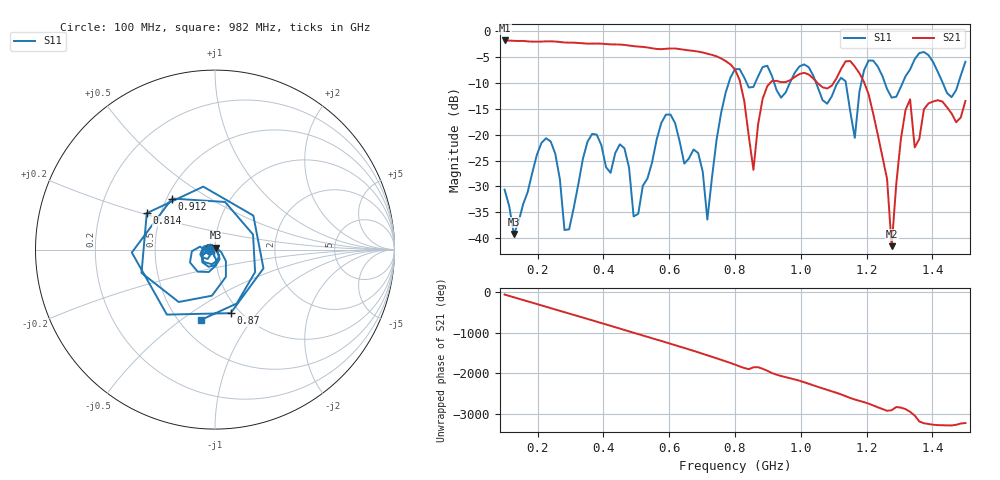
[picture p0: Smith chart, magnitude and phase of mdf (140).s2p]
! NanoVNA-App
! Date: 2025-09-26 09:40:49
! Start: 100MHz Stop: 1,5GHz Points: 101
! S-Parameter data: F S11 S21 S12 S22
# Hz S RI R 50
!  Frequency  S11_Real  S11_Imag  S21_Real  S21_Imag  S12_Real  S12_Imag  S22_Real  S22_Imag
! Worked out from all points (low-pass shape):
!   101 points, 100 MHz to 1.5 GHz, reference 50 ohm
!   highest |S21| = -1.79 dB at 100 MHz (marker M1); lowest = -41.5 dB at 1.276 GHz (marker M2)
!   |S21| within 3 dB of the highest: start of sweep to 740.6 MHz
!   lowest |S11| = -39.2 dB at 128 MHz (marker M3), VSWR 1.02, Z = 50.3 + j1.06 ohm
!   |S11| at or under -10 dB: start of sweep to 780.9 MHz; 1.046 GHz to 1.112 GHz (65.32 MHz wide, 6.05 % of centre); 1.255 GHz to 1.309 GHz (53.78 MHz wide, 4.19 % of centre)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
!   S12 and S22 are empty: the file has one direction only
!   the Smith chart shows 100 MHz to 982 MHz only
!   S11 on the Smith chart (normalised r, x): 100 MHz: 0.94, -0.01; 814 MHz: 0.42, +0.21; 870 MHz: 0.90, -0.74; 912 MHz: 0.53, +0.35; 982 MHz: 0.64, -0.60
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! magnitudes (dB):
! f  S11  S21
! 100 MHz  -30.6  -1.8
! 128 MHz  -39.2  -1.9
! 212 MHz  -21.6  -2.0
! 282 MHz  -38.4  -2.2
! 338 MHz  -24.6  -2.3
! 464 MHz  -22.6  -2.6
! 492 MHz  -35.8  -2.9
! 576 MHz  -17.7  -3.5
! 716 MHz  -36.4  -4.3
! 800 MHz  -7.3  -7.4
! 814 MHz  -7.3  -9.4
! 856 MHz  -10.8  -26.8
! 870 MHz  -8.8  -18.1
! 912 MHz  -8.6  -9.6
! 982 MHz  -8.0  -8.8
! 1.038 GHz  -8.6  -9.1
! 1.164 GHz  -20.6  -6.8
! 1.192 GHz  -7.6  -9.8
! 1.276 GHz  -12.8  -41.5
! 1.332 GHz  -7.4  -13.2
! 1.346 GHz  -5.4  -22.4
! 1.5 GHz  -5.9  -13.5
